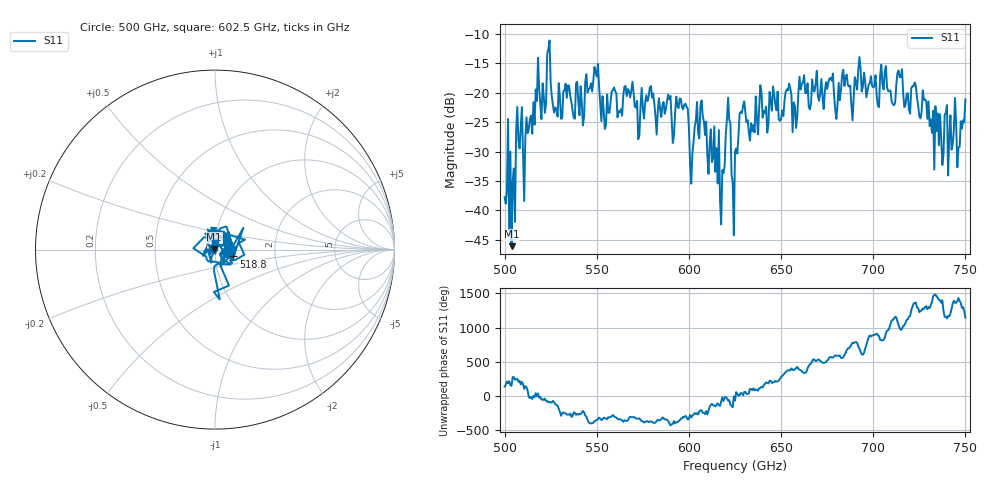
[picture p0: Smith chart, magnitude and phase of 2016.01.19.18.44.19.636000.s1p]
!Created with skrf (http://scikit-rf.org).
# GHz S RI R 50.0
!freq ReS11 ImS11
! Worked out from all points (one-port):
!   401 points, 500 GHz to 750 GHz, reference 50 ohm
!   lowest |S11| = -46.1 dB at 503.8 GHz (marker M1), VSWR 1.01, Z = 49.6 + j0.239 ohm
!   |S11| at or under -10 dB: start of sweep to end of sweep
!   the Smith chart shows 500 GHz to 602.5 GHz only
!   S11 on the Smith chart (normalised r, x): 500 GHz: 0.98, +0.02; 518.8 GHz: 1.22, -0.10; 602.5 GHz: 1.00, +0.08
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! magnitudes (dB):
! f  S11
! 500 GHz  -37.8
! 503.8 GHz  -46.1
! 508.1 GHz  -29.5
! 511.2 GHz  -27.6
! 518.8 GHz  -19.2
! 524.4 GHz  -11.1
! 527.5 GHz  -22.5
! 531.2 GHz  -24.2
! 541.9 GHz  -21.6
! 549.4 GHz  -16.5
! 553.8 GHz  -23.0
! 559.4 GHz  -19.1
! 562.5 GHz  -23.3
! 593.8 GHz  -22.3
! 602.5 GHz  -28.4
! 607.5 GHz  -24.0
! 618.1 GHz  -33.1
! 621.2 GHz  -20.8
! 625 GHz  -30.0
! 628.8 GHz  -23.4
! 656.2 GHz  -26.7
! 687.5 GHz  -18.7
! 705.6 GHz  -19.4
! 710.6 GHz  -22.0
! 714.4 GHz  -17.4
! 718.8 GHz  -20.0
! 741.9 GHz  -23.8
! 750 GHz  -21.1
